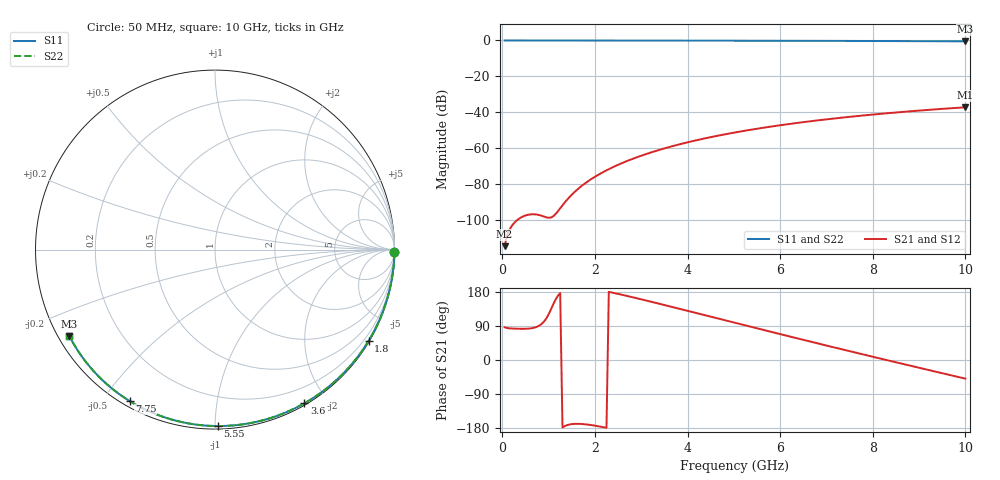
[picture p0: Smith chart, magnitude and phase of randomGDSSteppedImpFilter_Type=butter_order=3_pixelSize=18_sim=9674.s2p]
! freq	dB(S11)	phase(S11)	dB(S12)	phase(S12)
!  dB(S21)	phase(S21)	dB(S22)	phase(S22)
!S-par simulation data
#  GHz  S  DB  R 50
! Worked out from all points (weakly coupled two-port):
!   200 points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, 50 MHz to 10 GHz, reference 50 ohm
!   highest |S21| = -37.16 dB at 10 GHz (marker M1); lowest = -114.4 dB at 50 MHz (marker M2)
!   lowest |S11| = -0.5 dB at 10 GHz (marker M3), VSWR 34.53, Z = 1.56 - j13.7 ohm
!   |S11| at or under -10 dB: nowhere
!   |S22| runs from -0.5 to 0.0 dB; largest |S21 - S12| = 0
!   S11 on the Smith chart (normalised r, x): 50 MHz: open; 1.8 GHz: 0.03, -3.64; 3.6 GHz: 0.02, -1.74; 5.55 GHz: 0.02, -1.02; 7.75 GHz: 0.02, -0.58; 10 GHz: 0.03, -0.27
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0.05  -0.00 -0.9  -114.36 86.5  -114.36 86.5  -0.00 -0.9
0.45  -0.01 -7.8  -97.81 82.2  -97.81 82.2  -0.01 -7.8
0.9  -0.02 -15.5  -97.91 101.3  -97.91 101.3  -0.02 -15.5
1.3  -0.03 -22.3  -91.62 -178.1  -91.62 -178.1  -0.03 -22.3
1.75  -0.04 -29.9  -80.15 -169.2  -80.15 -169.2  -0.04 -29.9
1.8  -0.04 -30.7  -79.20 -169.8  -79.20 -169.8  -0.04 -30.7
1.95  -0.04 -33.2  -76.58 -172.3  -76.58 -172.3  -0.04 -33.2
2.1  -0.05 -35.7  -74.28 -175.4  -74.28 -175.4  -0.05 -35.7
2.3  -0.05 -39.0  -71.54 179.8  -71.54 179.8  -0.05 -39.0
2.5  -0.05 -42.2  -69.12 174.5  -69.12 174.5  -0.05 -42.2
2.9  -0.06 -48.7  -64.99 163.1  -64.99 163.1  -0.06 -48.7
3.4  -0.08 -56.7  -60.76 148.2  -60.76 148.2  -0.08 -56.7
3.6  -0.08 -59.8  -59.28 142.1  -59.28 142.1  -0.08 -59.8
4.3  -0.10 -70.6  -54.85 120.5  -54.85 120.5  -0.10 -70.6
5.05  -0.13 -81.8  -51.03 97.4  -51.03 97.4  -0.13 -81.8
5.55  -0.15 -89.0  -48.87 82.1  -48.87 82.1  -0.15 -89.0
6.1  -0.17 -96.9  -46.77 65.3  -46.77 65.3  -0.17 -96.9
6.7  -0.21 -105.2  -44.77 47.2  -44.77 47.2  -0.21 -105.2
7.75  -0.28 -119.4  -41.81 15.9  -41.81 15.9  -0.28 -119.4
8.35  -0.33 -127.4  -40.37 -1.7  -40.37 -1.7  -0.33 -127.4
9.2  -0.41 -138.6  -38.59 -26.3  -38.59 -26.3  -0.41 -138.6
10  -0.50 -149.2  -37.16 -49.2  -37.16 -49.2  -0.50 -149.2
